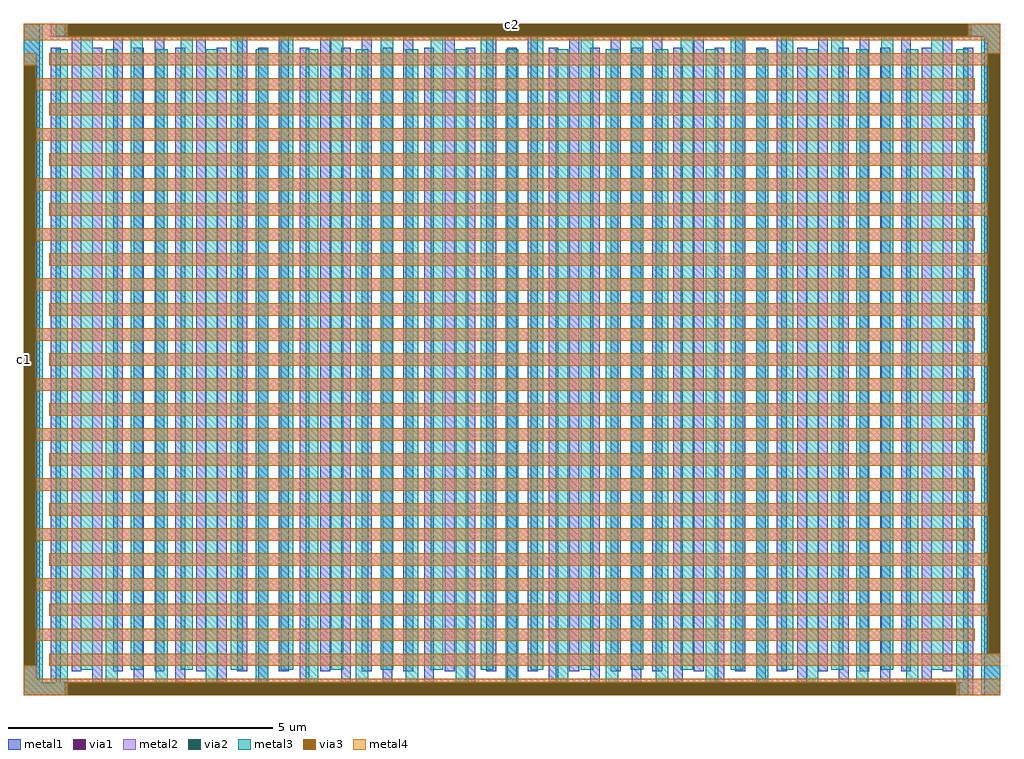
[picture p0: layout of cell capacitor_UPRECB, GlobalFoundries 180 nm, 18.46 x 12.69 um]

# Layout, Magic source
magic
tech gf180mcuD
magscale 3 26
<< metal1 >>
rect 0 2064 52 2200
rect 88 2199 3200 2200
rect 88 2159 134 2199
rect 3106 2159 3200 2199
rect 88 2158 3200 2159
rect 0 96 1 2064
rect 41 96 52 2064
rect 0 42 52 96
rect 88 42 120 2122
rect 156 78 188 2158
rect 224 42 256 2122
rect 292 78 324 2158
rect 360 42 392 2122
rect 428 78 460 2158
rect 496 42 528 2122
rect 564 78 596 2158
rect 632 42 664 2122
rect 700 78 732 2158
rect 768 42 800 2122
rect 836 78 868 2158
rect 904 42 936 2122
rect 972 78 1004 2158
rect 1040 42 1072 2122
rect 1108 78 1140 2158
rect 1176 42 1208 2122
rect 1244 78 1276 2158
rect 1312 42 1344 2122
rect 1380 78 1412 2158
rect 1448 42 1480 2122
rect 1516 78 1548 2158
rect 1584 42 1616 2122
rect 1652 78 1684 2158
rect 1720 42 1752 2122
rect 1788 78 1820 2158
rect 1856 42 1888 2122
rect 1924 78 1956 2158
rect 1992 42 2024 2122
rect 2060 78 2092 2158
rect 2128 42 2160 2122
rect 2196 78 2228 2158
rect 2264 42 2296 2122
rect 2332 78 2364 2158
rect 2400 42 2432 2122
rect 2468 78 2500 2158
rect 2536 42 2568 2122
rect 2604 78 2636 2158
rect 2672 42 2704 2122
rect 2740 78 2772 2158
rect 2808 42 2840 2122
rect 2876 78 2908 2158
rect 2944 42 2976 2122
rect 3012 78 3044 2158
rect 3080 42 3112 2122
rect 0 41 3112 42
rect 0 1 134 41
rect 3066 1 3112 41
rect 0 0 3112 1
rect 3148 2104 3200 2158
rect 3148 136 3159 2104
rect 3199 136 3200 2104
rect 3148 0 3200 136
<< via1 >>
rect 134 2159 3106 2199
rect 1 96 41 2064
rect 134 1 3066 41
rect 3159 136 3199 2104
<< metal2 >>
rect 0 2199 144 2200
rect 3096 2199 3200 2200
rect 0 2159 134 2199
rect 3106 2159 3200 2199
rect 0 2146 3200 2159
rect 3159 2104 3200 2146
rect 0 2064 41 2104
rect 84 2064 3159 2104
rect 41 1982 3116 2022
rect 84 1900 3159 1940
rect 41 1818 3116 1858
rect 84 1736 3159 1776
rect 41 1654 3116 1694
rect 84 1572 3159 1612
rect 41 1490 3116 1530
rect 84 1408 3159 1448
rect 41 1326 3116 1366
rect 84 1244 3159 1284
rect 41 1162 3116 1202
rect 84 1080 3159 1120
rect 41 998 3116 1038
rect 84 916 3159 956
rect 41 834 3116 874
rect 84 752 3159 792
rect 41 670 3116 710
rect 84 588 3159 628
rect 41 506 3116 546
rect 84 424 3159 464
rect 41 342 3116 382
rect 84 260 3159 300
rect 41 178 3116 218
rect 84 96 3200 136
rect 0 54 41 96
rect 0 41 3200 54
rect 0 1 134 41
rect 3066 1 3200 41
rect 0 0 144 1
rect 3056 0 3200 1
<< via2 >>
rect 144 2199 3096 2200
rect 144 2160 3096 2199
rect 0 96 1 2064
rect 1 96 40 2064
rect 3160 136 3199 2104
rect 3199 136 3200 2104
rect 144 1 3056 40
rect 144 0 3056 1
<< metal3 >>
rect 0 2064 62 2200
rect 104 2160 144 2200
rect 3096 2160 3200 2200
rect 40 96 62 2064
rect 0 40 62 96
rect 104 40 144 2118
rect 186 82 226 2160
rect 268 40 308 2118
rect 350 82 390 2160
rect 432 40 472 2118
rect 514 82 554 2160
rect 596 40 636 2118
rect 678 82 718 2160
rect 760 40 800 2118
rect 842 82 882 2160
rect 924 40 964 2118
rect 1006 82 1046 2160
rect 1088 40 1128 2118
rect 1170 82 1210 2160
rect 1252 40 1292 2118
rect 1334 82 1374 2160
rect 1416 40 1456 2118
rect 1498 82 1538 2160
rect 1580 40 1620 2118
rect 1662 82 1702 2160
rect 1744 40 1784 2118
rect 1826 82 1866 2160
rect 1908 40 1948 2118
rect 1990 82 2030 2160
rect 2072 40 2112 2118
rect 2154 82 2194 2160
rect 2236 40 2276 2118
rect 2318 82 2358 2160
rect 2400 40 2440 2118
rect 2482 82 2522 2160
rect 2564 40 2604 2118
rect 2646 82 2686 2160
rect 2728 40 2768 2118
rect 2810 82 2850 2160
rect 2892 40 2932 2118
rect 2974 82 3014 2160
rect 0 0 144 40
rect 3056 0 3096 2118
rect 3138 2104 3200 2160
rect 3138 136 3160 2104
rect 3138 0 3200 136
<< via3 >>
rect 144 2160 3096 2200
rect 0 96 40 2064
rect 144 0 3056 40
rect 3160 136 3200 2104
<< metal4 >>
rect 0 2160 144 2200
rect 3096 2160 3200 2200
rect 0 2146 3200 2160
rect 3160 2104 3200 2146
rect 0 2064 40 2104
rect 82 2064 3160 2104
rect 40 1982 3118 2022
rect 82 1900 3160 1940
rect 40 1818 3118 1858
rect 82 1736 3160 1776
rect 40 1654 3118 1694
rect 82 1572 3160 1612
rect 40 1490 3118 1530
rect 82 1408 3160 1448
rect 40 1326 3118 1366
rect 82 1244 3160 1284
rect 40 1162 3118 1202
rect 82 1080 3160 1120
rect 40 998 3118 1038
rect 82 916 3160 956
rect 40 834 3118 874
rect 82 752 3160 792
rect 40 670 3118 710
rect 82 588 3160 628
rect 40 506 3118 546
rect 82 424 3160 464
rect 40 342 3118 382
rect 82 260 3160 300
rect 40 178 3118 218
rect 82 96 3200 136
rect 0 54 40 96
rect 0 40 3200 54
rect 0 0 144 40
rect 3056 0 3200 40
<< labels >>
rlabel via3 2 1100 2 1100 0 c1
port 1 nsew
rlabel via3 1600 2198 1600 2198 0 c2
port 2 nsew
<< properties >>
string device csubckt cap_cmomf 0 0 1 1 w=16u l=11u mmin=1 mmax=4 subblock=0 mm_ok=1 c1 0 0 c2 0 0
string FIXED_BBOX 0 0 3200 2200
string gencell cap_cmomf
string library gf180mcu
string parameters w 16 l 11 value 226.512 class capacitor mmin metal1 mmax metal4 square 1 subblock 0 lmin 2.00 wmin 2.00 lmax 100.0 wmax 100.0
<< end >>
